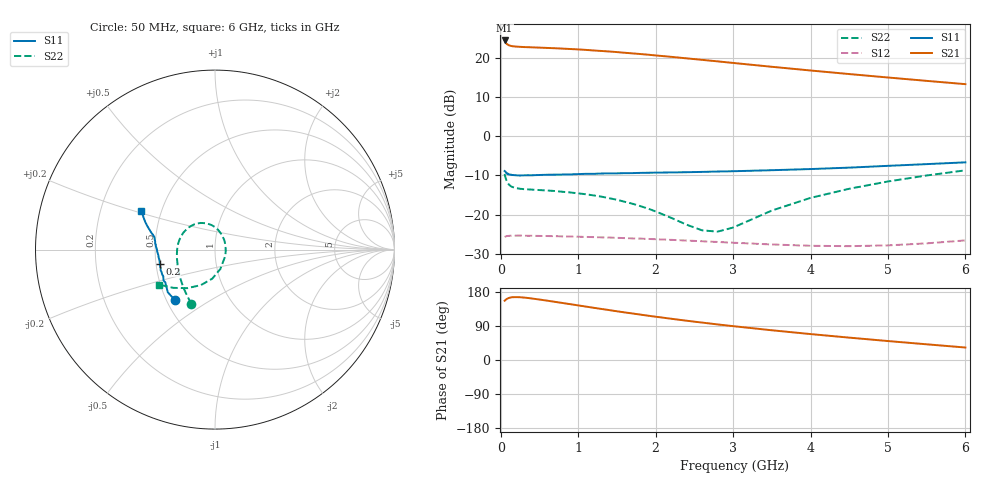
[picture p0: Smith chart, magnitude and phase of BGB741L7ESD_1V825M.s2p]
!  Infineon Technologies AG
!  BGB741L7ESD
!  Vce = 1.8V, Ic = 25.0mA
!  DATUM: 30.06.2009 10:08:30
# GHz  S  MA  R  50
!f  S11  S21  S12  S22
!GHz  Mag  Ang  Mag  Ang  Mag  Ang  Mag  Ang
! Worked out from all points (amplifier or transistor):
!   44 points, 50 MHz to 6 GHz, reference 50 ohm
!   highest |S21| = 24.4 dB at 50 MHz (marker M1)
!   |S21| within 3 dB of that: start of sweep to 1.519 GHz
!   unconditionally stable (mu >= 1): 193.4 MHz to end of sweep
!   at 120 MHz: K = 0.97, MSG = 24.3 dB, |S12| = -25.4 dB
!   at 1 GHz: K = 1.04, MAG = 22.7 dB, |S12| = -25.7 dB
!   at 6 GHz: K = 1.60, MAG = 15.4 dB, |S12| = -26.6 dB
!   S11 on the Smith chart (normalised r, x): 50 MHz: 0.55, -0.36; 200 MHz: 0.52, -0.09; 6 GHz: 0.39, +0.21
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0.05  0.3596 -128.4  16.69 156.3  0.05172 15.8  0.33 -113.6
0.06  0.3544 -138.0  15.85 158.0  0.05232 13.2  0.2988 -121.6
0.07  0.3415 -142.4  15.34 159.9  0.05283 11.4  0.2789 -128.3
0.08  0.3315 -146.5  14.99 161.3  0.05314 10.0  0.2641 -134.0
0.1  0.3242 -152.7  14.54 163.2  0.05334 7.7  0.245 -143.2
0.14  0.3201 -161.0  14.15 165.5  0.05362 5.3  0.2274 -155.8
0.2  0.317 -165.9  13.92 166.0  0.05375 3.4  0.2175 -167.4
0.35  0.3173 -173.3  13.7 163.7  0.05359 1.2  0.2095 175.5
0.7  0.323 -179.5  13.28 153.5  0.05294 -0.8  0.1996 151.2
1.1  0.3311 176.3  12.64 140.9  0.0518 -1.7  0.1817 129.0
1.4  0.3358 173.8  12.06 131.7  0.05082 -2.1  0.1616 113.7
1.6  0.3374 171.8  11.62 125.7  0.05003 -2.2  0.1456 103.2
1.9  0.3415 170.0  10.99 117.0  0.04885 -2.1  0.1194 86.0
2.2  0.3449 168.5  10.31 108.9  0.04752 -1.7  0.09089 65.3
2.4  0.347 168.0  9.86 103.7  0.04657 -1.4  0.07421 46.0
2.8  0.3542 166.7  9.027 93.9  0.04467 -0.0  0.06051 -8.7
3.5  0.3681 165.0  7.696 78.5  0.04148 4.4  0.1124 -74.7
4  0.3808 163.2  6.903 68.4  0.03993 9.3  0.1631 -95.6
4.5  0.3971 161.1  6.214 59.0  0.03947 15.3  0.2134 -111.8
5  0.4185 158.4  5.617 50.0  0.0404 21.8  0.2644 -125.7
5.5  0.4402 155.3  5.087 41.4  0.04287 27.8  0.3152 -137.4
6  0.4638 152.0  4.619 32.9  0.04676 32.4  0.3667 -148.0
